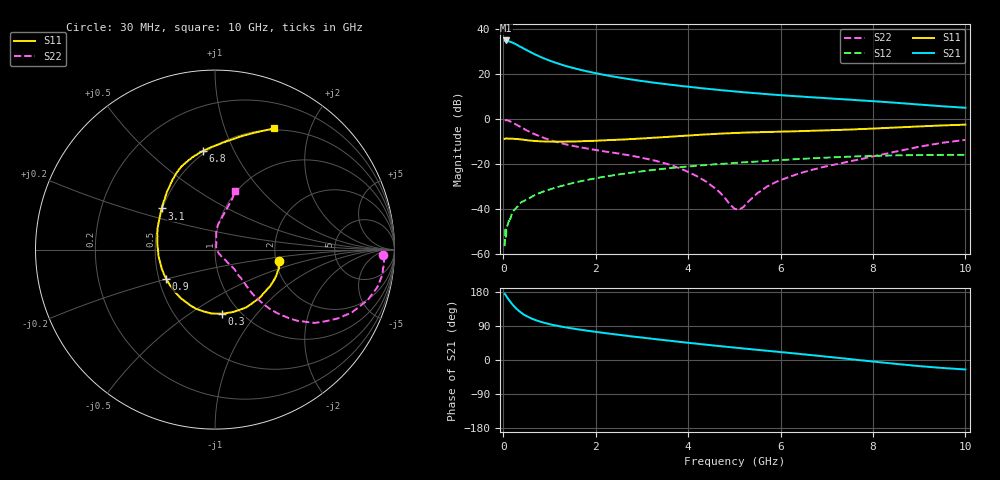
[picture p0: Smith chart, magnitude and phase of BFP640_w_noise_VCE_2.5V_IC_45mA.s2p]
! Infineon Technologies  Discrete & RF Semiconductors
! BFP640
! VCE =  2.5 V,  IC =  45 mA
! Common Emitter S-Parameters:  Apr 2013
# GHz  S  MA  R  50
!  f  S11  S21  S12  S22
! GHz  MAG  ANG  MAG  ANG  MAG  ANG  MAG  ANG
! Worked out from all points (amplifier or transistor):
!   99 points, 30 MHz to 10 GHz, reference 50 ohm
!   highest |S21| = 34.9 dB at 60 MHz (marker M1)
!   |S21| within 3 dB of that: start of sweep to 392.9 MHz
!   unconditionally stable (mu >= 1): 1.603 GHz to end of sweep
!   at 350 MHz: K = 0.50, MSG = 35.1 dB, |S12| = -37.8 dB
!   at 3.5 GHz: K = 1.07, MAG = 17.1 dB, |S12| = -22.0 dB
!   at 10 GHz: K = 1.07, MAG = 8.8 dB, |S12| = -15.9 dB
!   lowest NFmin = 1.34 dB at 450 MHz
!   S11 on the Smith chart (normalised r, x): 30 MHz: 2.08, -0.30; 300 MHz: 0.83, -0.68; 900 MHz: 0.55, -0.20; 3.1 GHz: 0.50, +0.26; 6.8 GHz: 0.48, +0.77; 10 GHz: 0.48, +1.49
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0.03  0.3617 -10.0  54.58 175.0  0.0015 83.9  0.9385 -2.0
0.06  0.3695 -19.4  55.68 169.8  0.0022 101.4  0.9421 -6.5
0.11  0.3655 -36.5  53.77 160.7  0.0049 75.8  0.9218 -14.0
0.15  0.3659 -48.4  52.28 154.3  0.0059 72.4  0.8867 -19.2
0.2  0.3663 -61.8  49.73 146.5  0.0087 75.2  0.8387 -24.7
0.25  0.3623 -73.7  47.14 139.7  0.0098 72.7  0.7853 -29.2
0.3  0.3597 -83.8  44.34 133.6  0.0111 69.1  0.7346 -32.9
0.35  0.3565 -93.0  41.27 128.4  0.0129 67.4  0.6887 -36.4
0.45  0.3464 -107.5  36.41 119.6  0.0151 66.0  0.6054 -40.9
0.6  0.3314 -124.7  30.28 110.1  0.0183 64.7  0.5015 -45.4
0.7  0.3248 -133.9  26.88 105.2  0.0209 64.7  0.4514 -47.2
0.9  0.3177 -148.7  21.88 97.7  0.0252 63.9  0.3742 -48.9
1.3  0.3148 -169.7  15.7 87.2  0.0334 62.7  0.2828 -49.4
1.7  0.3218 175.4  12.19 79.4  0.042 60.6  0.2321 -48.0
2.3  0.3421 159.2  9.086 69.5  0.0547 56.4  0.1835 -47.1
3.1  0.3748 142.3  6.78 57.8  0.0711 50.2  0.131 -45.1
3.4  0.3931 136.6  6.169 53.6  0.0771 47.6  0.1106 -45.7
5.1  0.4934 113.1  4.034 31.6  0.1074 32.5  0.0096 24.6
6.7  0.55 98.0  3.038 12.5  0.1346 18.2  0.0754 84.7
6.8  0.554 96.8  2.987 11.3  0.1359 17.2  0.0797 84.9
8.5  0.6491 76.8  2.298 -10.3  0.156 0.0  0.1897 77.2
10  0.751 64.0  1.781 -25.0  0.1606 -11.8  0.3439 71.0
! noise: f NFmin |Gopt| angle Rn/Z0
0.45  1.34  0.29  -171  0.08
0.9  1.35  0.32  -158  0.09
1.5  1.36  0.35  -145  0.12
1.9  1.39  0.36  222  0.14
2.4  1.47  0.38  -126  0.16
3.5  1.6  0.42  -109  0.2
5.5  1.85  0.45  -92  0.34
10  2.45  0.65  -47  0.99
